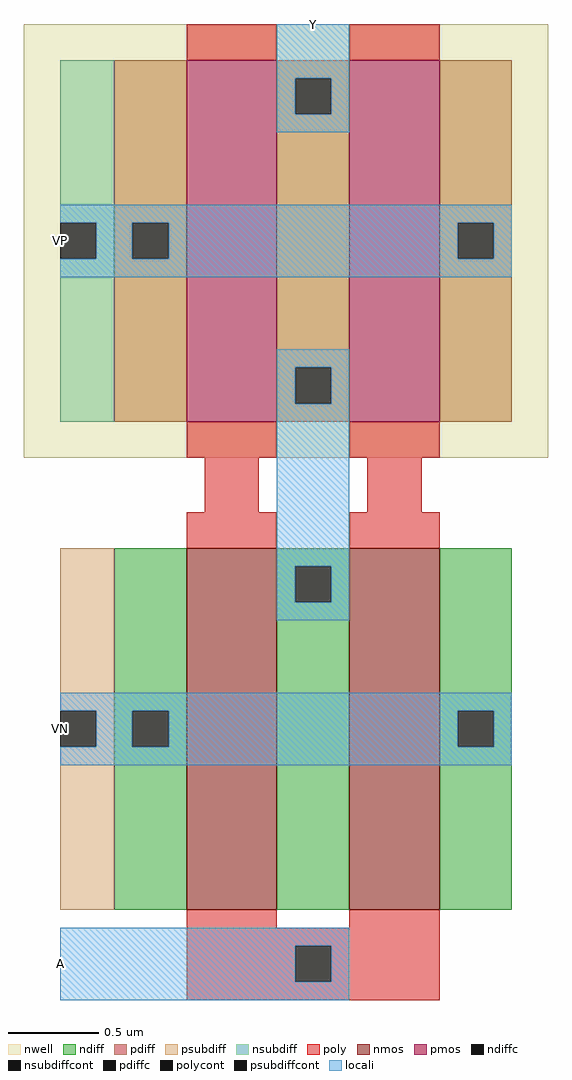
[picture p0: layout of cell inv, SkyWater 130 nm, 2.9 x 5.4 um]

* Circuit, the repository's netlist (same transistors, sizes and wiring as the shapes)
* SPICE3 file created from inv.ext - technology: sky130A


* Top level circuit inv

X0 a_100_0# a_0_n100# a_n140_0# a_n140_0# sky130_fd_pr__nfet_01v8 ad=0.4 pd=2.4 as=0.8 ps=4.8 w=2 l=0.5
X1 a_100_0# a_0_n100# w_n180_500# w_n180_500# sky130_fd_pr__pfet_01v8 ad=0.4 pd=2.4 as=0.8 ps=4.8 w=2 l=0.5
X2 w_n180_500# a_0_n100# a_100_0# w_n180_500# sky130_fd_pr__pfet_01v8 ad=0.8 pd=4.8 as=0.4 ps=2.4 w=2 l=0.5
X3 a_n140_0# a_0_n100# a_100_0# a_n140_0# sky130_fd_pr__nfet_01v8 ad=0.8 pd=4.8 as=0.4 ps=2.4 w=2 l=0.5
.end

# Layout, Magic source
magic
tech sky130A
<< nwell >>
rect -90 250 200 490
<< nmos >>
rect 0 0 50 200
rect 90 0 140 200
<< pmos >>
rect 0 270 50 470
rect 90 270 140 470
<< ndiff >>
rect -40 110 0 200
rect -40 90 -30 110
rect -10 90 0 110
rect -40 0 0 90
rect 50 190 90 200
rect 50 170 60 190
rect 80 170 90 190
rect 50 0 90 170
rect 140 110 180 200
rect 140 90 150 110
rect 170 90 180 110
rect 140 0 180 90
<< pdiff >>
rect -40 380 0 470
rect -40 360 -30 380
rect -10 360 0 380
rect -40 270 0 360
rect 50 460 90 470
rect 50 440 60 460
rect 80 440 90 460
rect 50 300 90 440
rect 50 280 60 300
rect 80 280 90 300
rect 50 270 90 280
rect 140 380 180 470
rect 140 360 150 380
rect 170 360 180 380
rect 140 270 180 360
<< ndiffc >>
rect -30 90 -10 110
rect 60 170 80 190
rect 150 90 170 110
<< pdiffc >>
rect -30 360 -10 380
rect 60 440 80 460
rect 60 280 80 300
rect 150 360 170 380
<< psubdiff >>
rect -70 110 -40 200
rect -50 90 -40 110
rect -70 0 -40 90
<< nsubdiff >>
rect -70 380 -40 470
rect -50 360 -40 380
rect -70 270 -40 360
<< psubdiffcont >>
rect -70 90 -50 110
<< nsubdiffcont >>
rect -70 360 -50 380
<< poly >>
rect 0 470 50 490
rect 90 470 140 490
rect 0 250 50 270
rect 90 250 140 270
rect 10 220 40 250
rect 100 220 130 250
rect 0 200 50 220
rect 90 200 140 220
rect 0 -10 50 0
rect 90 -10 140 0
rect 0 -20 140 -10
rect 0 -40 60 -20
rect 80 -40 140 -20
rect 0 -50 140 -40
<< polycont >>
rect 60 -40 80 -20
<< locali >>
rect 50 460 90 490
rect 50 440 60 460
rect 80 440 90 460
rect 50 430 90 440
rect -70 380 180 390
rect -50 360 -30 380
rect -10 360 150 380
rect 170 360 180 380
rect -70 350 180 360
rect 50 300 90 310
rect 50 280 60 300
rect 80 280 90 300
rect 50 190 90 280
rect 50 170 60 190
rect 80 170 90 190
rect 50 160 90 170
rect -70 110 180 120
rect -50 90 -30 110
rect -10 90 150 110
rect 170 90 180 110
rect -70 80 180 90
rect -70 -20 90 -10
rect -70 -40 60 -20
rect 80 -40 90 -20
rect -70 -50 90 -40
<< labels >>
rlabel locali -70 -30 -70 -30 7 A
port 1 w
rlabel locali 70 490 70 490 1 Y
port 2 n
rlabel nsubdiffcont -70 370 -70 370 7 VP
port 3 w
rlabel psubdiffcont -70 100 -70 100 7 VN
port 4 w
<< end >>
